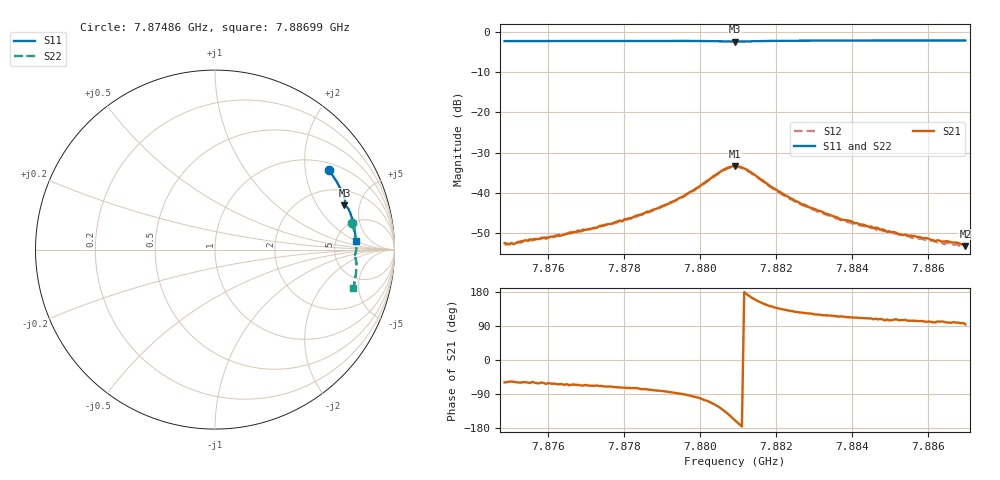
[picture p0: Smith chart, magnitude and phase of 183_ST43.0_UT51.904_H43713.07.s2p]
#  HZ  S  DB  R  50.00
! Rohde & Schwarz Vector Network Analyzer
! Rohde-Schwarz,ZNB20-2Port,1311601062101988,3.16
! Created: UTC 1/12/2023, 6:42:58 PM
! freq[Hz]  db:S11  ang:S11  db:S21  ang:S21  db:S12  ang:S12  db:S22  ang:S22
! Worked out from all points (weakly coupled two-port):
!   201 points, 7.87486 GHz to 7.88699 GHz, reference 50 ohm
!   highest |S21| = -33.30 dB at 7.88093 GHz (marker M1); lowest = -53.3 dB at 7.88699 GHz (marker M2)
!   lowest |S11| = -2.4 dB at 7.88093 GHz (marker M3), VSWR 7.39, Z = 152 + j178 ohm
!   |S11| at or under -10 dB: nowhere
!   |S22| runs from -2.3 to -1.9 dB; largest |S21 - S12| = 0.0013
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7.87486e9  -2.24 34.9  -52.52 -59.1  -52.93 -59.3  -2.17 10.9
7.875102e9  -2.23 34.2  -52.81 -57.6  -52.52 -60.9  -2.16 10.4
7.875284e9  -2.23 33.7  -52.08 -59.8  -52.46 -62.7  -2.17 9.9
7.875406e9  -2.23 33.4  -51.79 -58.7  -51.71 -63.7  -2.16 9.7
7.875951e9  -2.22 31.9  -51.40 -63.2  -51.09 -65.5  -2.14 8.4
7.876922e9  -2.20 29.2  -49.15 -67.6  -49.47 -70.0  -2.12 6.1
7.877892e9  -2.19 26.6  -46.90 -72.4  -47.09 -74.7  -2.09 3.8
7.877953e9  -2.19 26.4  -47.13 -72.9  -46.90 -76.9  -2.09 3.7
7.878923e9  -2.19 23.7  -43.70 -80.7  -43.81 -84.5  -2.08 1.4
7.879591e9  -2.20 21.8  -40.68 -90.7  -40.91 -94.8  -2.09 -0.3
7.880622e9  -2.33 19.0  -34.26 -132.8  -34.43 -136.0  -2.22 -2.7
7.880925e9  -2.36 18.8  -33.30 -159.0  -33.55 -162.1  -2.26 -2.8
7.881228e9  -2.32 18.6  -34.22 174.2  -34.41 171.1  -2.22 -2.8
7.882199e9  -2.17 16.1  -40.36 133.1  -40.62 129.7  -2.05 -4.8
7.882987e9  -2.14 13.9  -43.94 121.0  -44.26 117.8  -2.01 -6.7
7.883715e9  -2.12 11.9  -46.65 115.2  -46.77 111.5  -1.99 -8.3
7.884989e9  -2.10 8.6  -49.59 104.6  -49.89 103.6  -1.97 -11.2
7.886445e9  -2.09 4.7  -52.13 100.1  -52.81 96.4  -1.95 -14.4
7.886505e9  -2.09 4.6  -52.04 99.1  -52.39 95.7  -1.94 -14.5
7.886626e9  -2.08 4.3  -52.39 98.3  -52.46 95.9  -1.95 -14.7
7.886687e9  -2.09 4.1  -52.35 100.1  -53.03 95.9  -1.94 -14.9
7.88699e9  -2.08 3.3  -53.26 94.0  -53.09 94.2  -1.95 -15.6
